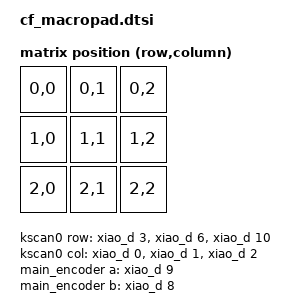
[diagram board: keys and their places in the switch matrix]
#include <dt-bindings/zmk/matrix_transform.h>

/ {
    chosen {
        zmk,kscan = &kscan0;

    };

    kscan0: kscan_0 {
        compatible = "zmk,kscan-gpio-matrix";
        diode-direction = "col2row";

        col-gpios
            = <&xiao_d 0 GPIO_ACTIVE_HIGH>
            , <&xiao_d 1 GPIO_ACTIVE_HIGH>
            , <&xiao_d 2 GPIO_ACTIVE_HIGH>
            ;

        row-gpios
            = <&xiao_d 3 (GPIO_ACTIVE_HIGH | GPIO_PULL_DOWN)>
            , <&xiao_d 6 (GPIO_ACTIVE_HIGH | GPIO_PULL_DOWN)>
            , <&xiao_d 10 (GPIO_ACTIVE_HIGH | GPIO_PULL_DOWN)>
            ;
    };

    default_transform: keymap_transform_0 {
        compatible = "zmk,matrix-transform";
        columns = <3>;
        rows = <3>;
        map = <
                RC(0,0) RC(0,1) RC(0,2)
                RC(1,0) RC(1,1) RC(1,2)
                RC(2,0) RC(2,1) RC(2,2)
        >;
    };


    main_encoder: encoder_left {
        compatible = "alps,ec11";
        a-gpios = <&xiao_d 9  (GPIO_ACTIVE_HIGH | GPIO_PULL_UP)>;
        b-gpios = <&xiao_d 8  (GPIO_ACTIVE_HIGH | GPIO_PULL_UP)>;
        steps = <36>;
        status = "okay";
    };

    sensors: sensors {
        compatible = "zmk,keymap-sensors";
        sensors = <&main_encoder>;
        triggers-per-rotation = <18>;
    };

};

&xiao_spi { status = "disabled";};
&xiao_serial { status = "disabled";};
